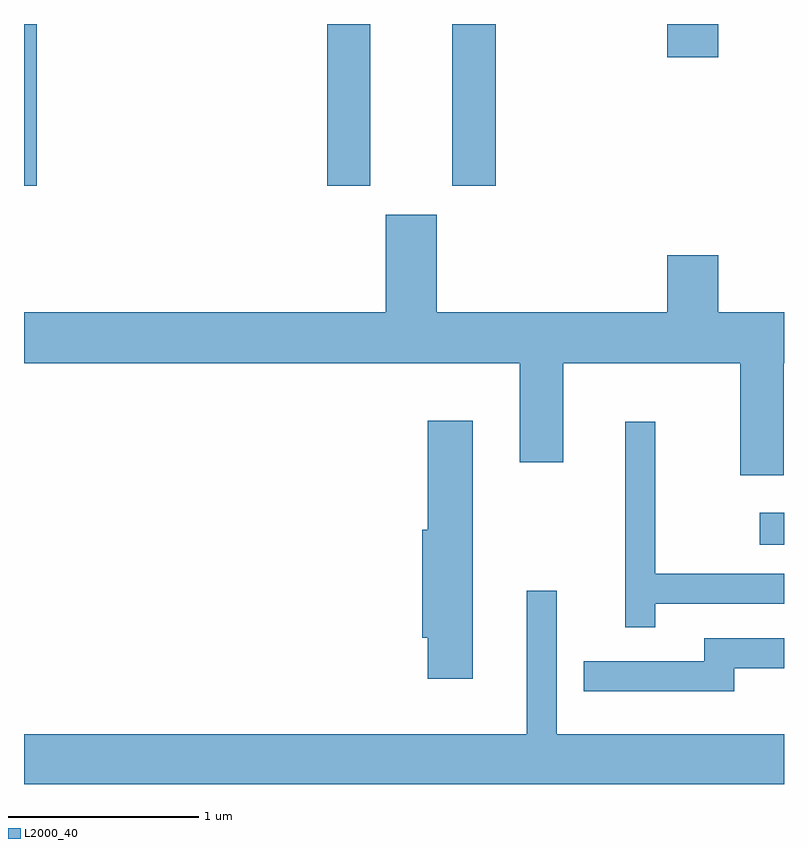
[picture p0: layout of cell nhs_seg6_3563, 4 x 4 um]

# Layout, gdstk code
import gdstk
lib = gdstk.Library(unit=1e-6, precision=1e-09)
def R(c, l, rs):  # rectangles x0, y0, x1, y1
    for r in rs: c.add(gdstk.rectangle(r[:2], r[2:], *l))
def P(c, l, *ps):  # polygons
    for p in ps: c.add(gdstk.Polygon(p, *l))
L2000_40 = (2000, 40)

nhs_seg6_3563 = lib.new_cell('nhs_seg6_3563')
R(nhs_seg6_3563, L2000_40, [(295.483,1653.421,295.611,1653.589), (291.611,1655.311,291.679,1656.162), (293.206,1655.311,293.434,1656.162), (293.866,1655.311,294.094,1656.162), (294.996,1655.986,295.264,1656.162)])
P(nhs_seg6_3563, L2000_40, [(295.609,1654.376),(295.611,1654.376),(295.611,1654.644),(295.264,1654.644),(295.264,1654.944),(294.996,1654.944),(294.996,1654.644),(293.784,1654.644),(293.784,1655.159),(293.516,1655.159),(293.516,1654.644),(291.611,1654.644),(291.611,1654.376),(294.221,1654.376),(294.221,1653.856),(294.449,1653.856),(294.449,1654.376),(295.381,1654.376),(295.381,1653.786),(295.609,1653.786)],
  [(293.974,1654.074),(293.736,1654.074),(293.736,1653.499),(293.706,1653.499),(293.706,1652.931),(293.736,1652.931),(293.736,1652.716),(293.974,1652.716)],
  [(294.934,1653.111),(295.611,1653.111),(295.611,1653.269),(294.934,1653.269),(294.934,1654.068),(294.776,1654.068),(294.776,1652.988),(294.934,1652.988)],
  [(295.611,1652.424),(294.414,1652.424),(294.414,1653.178),(294.256,1653.178),(294.256,1652.424),(291.611,1652.424),(291.611,1652.162),(295.611,1652.162)],
  [(295.349,1652.771),(295.611,1652.771),(295.611,1652.929),(295.191,1652.929),(295.191,1652.809),(294.558,1652.809),(294.558,1652.651),(295.349,1652.651)])

lib.write_gds('nhs_seg6_3563.gds')
